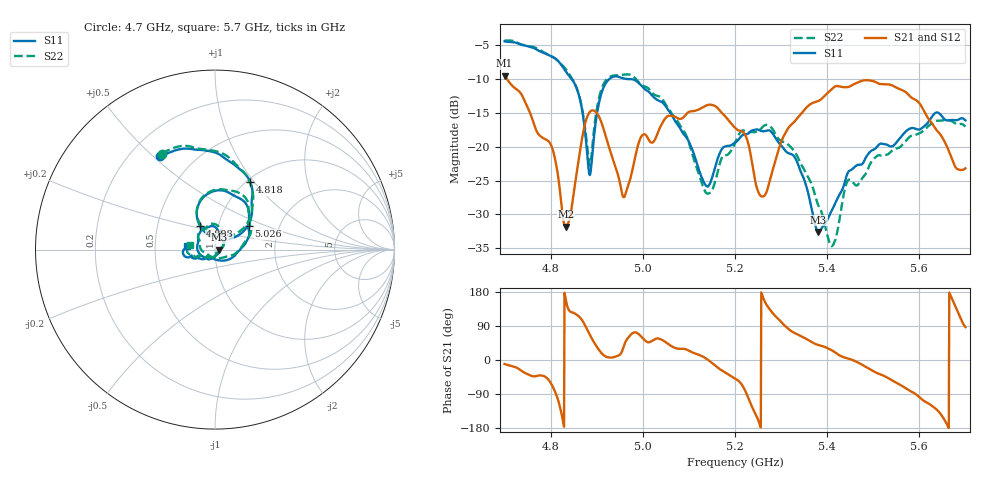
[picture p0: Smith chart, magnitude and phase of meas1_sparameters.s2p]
!Agilent Technologies,N5224A,MY51441177,A.09.90.21
!Agilent N5224A: A.09.90.21
!Date: Wednesday, January 01, 2025 04:27:01
!Correction: S11(Full 2 Port(1,2))
!S21(Full 2 Port(1,2))
!S12(Full 2 Port(1,2))
!S22(Full 2 Port(1,2))
!S2P File: Measurements: S11, S21, S12, S22:
# Hz S  dB  R 50
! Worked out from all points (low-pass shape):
!   1001 points, 4.7 GHz to 5.7 GHz, reference 50 ohm
!   highest |S21| = -9.47 dB at 4.7 GHz (marker M1); lowest = -31.8 dB at 4.833 GHz (marker M2)
!   |S21| within 3 dB of the highest: start of sweep to 4.738 GHz; 5.394 GHz to 5.579 GHz (184.5 MHz wide, 3.36 % of centre)
!   lowest |S11| = -32.6 dB at 5.381 GHz (marker M3), VSWR 1.05, Z = 52.4 + j0.0112 ohm
!   |S11| at or under -10 dB: 4.846 GHz to 4.927 GHz (80.72 MHz wide, 1.65 % of centre); 4.976 GHz to end of sweep
!   |S22| runs from -34.7 to -4.3 dB; largest |S21 - S12| = 0.00056
!   S11 on the Smith chart (normalised r, x): 4.7 GHz: 0.32, +0.53; 4.818 GHz: 1.04, +0.96; 4.898 GHz: 0.82, +0.22; 5.026 GHz: 1.40, +0.39; 5.7 GHz: 0.73, +0.03
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4.7e9  -4.39 120.5  -9.47 -10.5  -9.46 -10.6  -4.29 118.9
4.8e9  -6.58 73.1  -19.63 -60.5  -19.62 -60.6  -6.55 72.2
4.818e9  -7.44 62.3  -25.33 -114.0  -25.35 -113.9  -7.43 63.0
4.833e9  -8.88 54.8  -31.82 157.5  -31.77 157.2  -8.54 55.5
4.867e9  -14.07 33.4  -19.20 107.0  -19.21 107.0  -13.94 37.1
4.884e9  -24.09 69.7  -14.93 68.8  -14.93 68.9  -22.61 71.7
4.898e9  -16.21 122.3  -14.85 38.9  -14.83 38.8  -15.32 120.3
4.92e9  -10.54 102.9  -18.55 8.9  -18.56 8.8  -10.14 100.2
4.958e9  -9.87 72.2  -27.44 33.8  -27.45 33.7  -9.33 73.4
4.996e9  -10.89 48.7  -18.55 62.4  -18.55 62.5  -10.78 50.0
5.026e9  -12.80 35.0  -18.97 54.9  -18.97 55.0  -12.33 37.5
5.034e9  -13.16 32.0  -17.66 56.5  -17.65 56.5  -12.51 33.7
5.139e9  -25.84 -105.4  -13.85 2.5  -13.83 2.5  -26.91 -103.1
5.2e9  -19.40 150.6  -17.18 -48.8  -17.16 -48.9  -19.46 147.3
5.261e9  -17.70 107.9  -27.34 164.6  -27.29 165.1  -16.99 105.2
5.33e9  -21.58 57.3  -16.20 70.9  -16.20 70.8  -20.81 54.2
5.367e9  -29.41 11.1  -13.55 46.8  -13.55 46.8  -25.62 24.4
5.381e9  -32.59 0.3  -13.22 39.5  -13.22 39.5  -28.68 8.1
5.412e9  -29.15 -86.1  -11.34 24.3  -11.33 24.2  -34.59 -65.9
5.444e9  -23.96 -121.1  -11.17 4.2  -11.16 4.2  -25.06 -116.0
5.534e9  -19.86 -159.9  -10.78 -48.8  -10.77 -48.8  -21.01 -157.8
5.7e9  -16.08 172.2  -23.19 86.8  -23.17 86.8  -17.01 169.8
